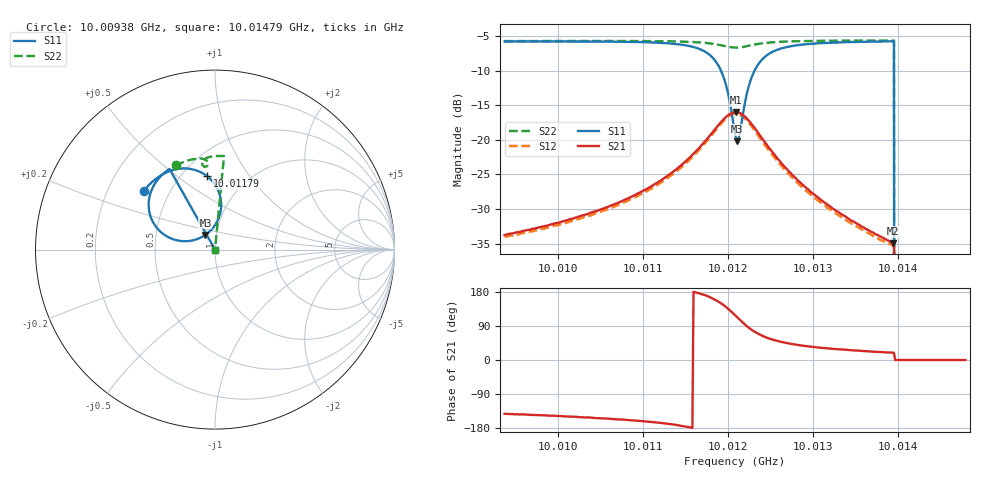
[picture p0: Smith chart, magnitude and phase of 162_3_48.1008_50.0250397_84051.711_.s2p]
#  HZ  S  RI  R  50.00
! Rohde & Schwarz Vector Network Analyzer
! Rohde-Schwarz,ZNB20-2Port,1311601062101988,3.16
! Created: UTC 12/23/2023, 3:50:51 AM
! freq[Hz]  re:S11  im:S11  re:S21  im:S21  re:S12  im:S12  re:S22  im:S22
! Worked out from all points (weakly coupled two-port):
!   401 points, 10.00938 GHz to 10.01479 GHz, reference 50 ohm
!   highest |S21| = -16.00 dB at 10.0121 GHz (marker M1); lowest = -34.9 dB at 10.01394 GHz (marker M2)
!   lowest |S11| = -20.2 dB at 10.01211 GHz (marker M3), VSWR 1.22, Z = 44.3 + j7.33 ohm
!   |S11| at or under -10 dB: 10.01192 GHz to 10.01231 GHz (393.4 kHz wide, 0.00393 % of centre); 10.01395 GHz to end of sweep
!   |S22| runs from - to -5.6 dB; largest |S21 - S12| = 0.0078
!   S11 on the Smith chart (normalised r, x): 10.00938 GHz: 0.36, +0.32; 10.01179 GHz: 0.66, +0.65; 10.01479 GHz: 1.00, +0.00
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1.0009379e10  -0.3969 0.3275  -0.0162 -0.0126  -0.015 -0.0131  -0.2187 0.4693
1.0010285e10  -0.3421 0.3841  -0.0248 -0.0137  -0.0231 -0.0145  -0.1628 0.4924
1.0011191e10  -0.242 0.4414  -0.0483 -0.0125  -0.0459 -0.0144  -0.0997 0.5072
1.0011583e10  -0.1398 0.45  -0.0777 -0.000837  -0.0749 -0.00479  -0.0662 0.5058
1.0011785e10  -0.0446 0.4092  -0.1037 0.0257  -0.1018 0.0199  -0.047 0.4962
1.001188e10  0.00652 0.3512  -0.1142 0.0531  -0.1137 0.0457  -0.0402 0.4867
1.0011948e10  0.0316 0.2831  -0.1153 0.0803  -0.1158 0.073  -0.0384 0.4774
1.0012002e10  0.0317 0.2143  -0.1068 0.1061  -0.1087 0.0988  -0.0407 0.4696
1.0012083e10  -0.0216 0.109  -0.0748 0.1397  -0.0786 0.133  -0.0504 0.4621
1.0012096e10  -0.0366 0.0945  -0.0679 0.1433  -0.0716 0.1368  -0.0526 0.4615
1.001211e10  -0.0535 0.0819  -0.0605 0.1464  -0.0641 0.14  -0.0549 0.4615
1.0012137e10  -0.0899 0.062  -0.0451 0.15  -0.0483 0.1442  -0.059 0.4622
1.0012205e10  -0.1867 0.0476  -0.00661 0.1462  -0.0112 0.1411  -0.0676 0.4685
1.0012259e10  -0.2529 0.0656  0.0168 0.1335  0.0116 0.1291  -0.0707 0.476
1.001238e10  -0.3395 0.1431  0.0426 0.0977  0.0375 0.095  -0.0681 0.4919
1.0012597e10  -0.3696 0.2606  0.0466 0.0542  0.0422 0.0535  -0.0507 0.5083
1.0012989e10  -0.3383 0.3621  0.0339 0.0236  0.0312 0.024  -0.0184 0.5187
1.0013895e10  -0.2577 0.4467  0.0173 0.00628  0.0162 0.00684  0.0467 0.5209
1.0013922e10  -0.2557 0.4482  0.0171 0.00601  0.016 0.0067  0.0484 0.5209
1.0013935e10  -0.2546 0.449  0.0169 0.00586  0.0158 0.00655  0.0494 0.5207
1.0013989e10  0 0  0 0  0 0  0 0
1.0014787e10  0 0  0 0  0 0  0 0
